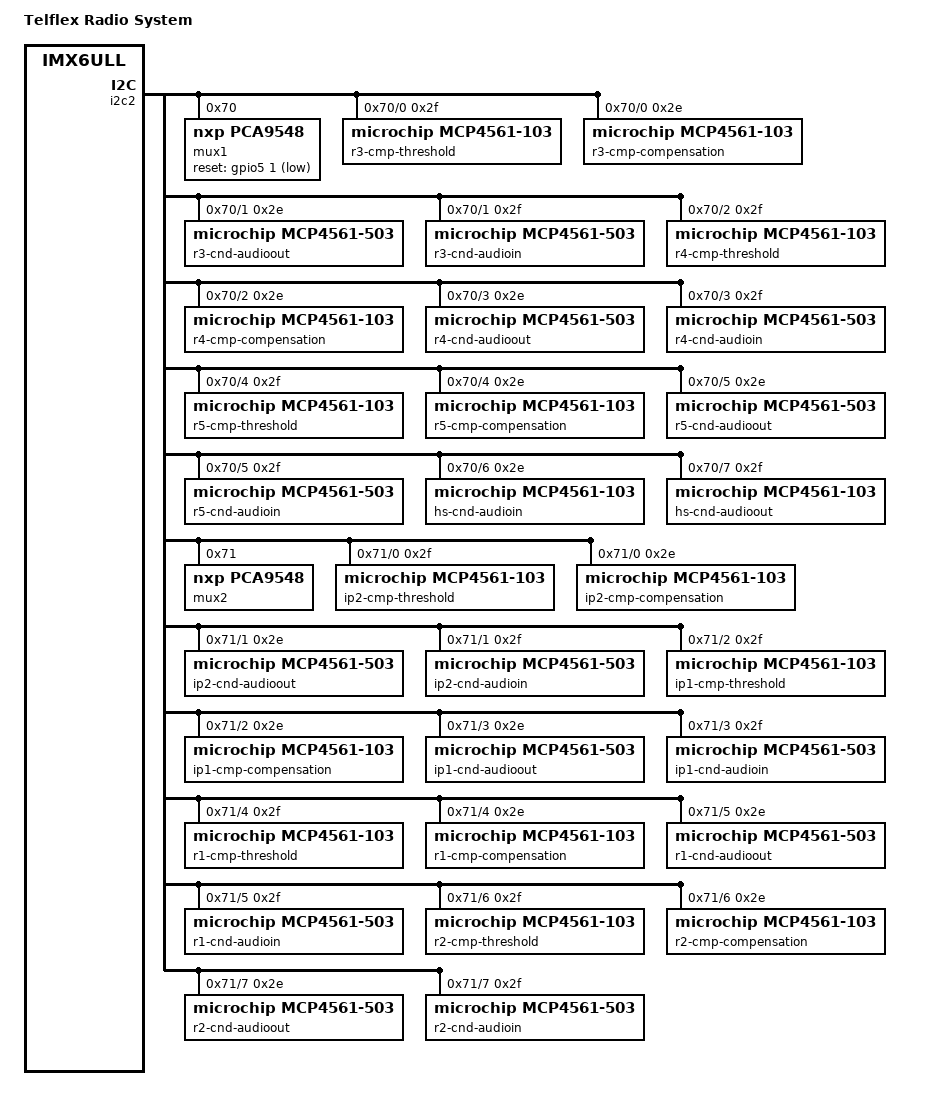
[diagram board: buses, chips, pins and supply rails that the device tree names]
/*
 * Copyright (C) 2019 Amotus Solutions, Inc.
 */

/dts-v1/;

#include "imx6ull-dart6ul-telflex-radio.dtsi"

/ {
	model = "Telflex Radio System";
};

&i2c2 {
	mux1: i2c-mux-0@70 {
		compatible = "nxp,pca9548";
		#address-cells = <1>;
		#size-cells = <0>;
		reg = <0x70>;
		i2c-mux-idle-disconnect = <1>;
		reset-gpios = <&gpio5 1 GPIO_ACTIVE_LOW>;

		i2c@0 {
			#address-cells = <1>;
			#size-cells = <0>;
			reg = <0>;

			// threshold 10kOhm
			r3-cmp-threshold@2f {
				compatible = "microchip,mcp4561-103";
				reg = <0x2f>;
			};
			// compensation 10kOhm
			r3-cmp-compensation@2e {
				compatible = "microchip,mcp4561-103";
				reg = <0x2e>;
			};
		};

		i2c@1 {
			#address-cells = <1>;
			#size-cells = <0>;
			reg = <1>;

			// audioout 50kOhm
			r3-cnd-audioout@2e {
				compatible = "microchip,mcp4561-503";
				reg = <0x2e>;
			};

			// audioin 50kOhm
			r3-cnd-audioin@2f {
				compatible = "microchip,mcp4561-503";
				reg = <0x2f>;
			};
		};

		i2c@2 {
			#address-cells = <1>;
			#size-cells = <0>;
			reg = <2>;

			// threshold 10kOhm
			r4-cmp-threshold@2f {
				compatible = "microchip,mcp4561-103";
				reg = <0x2f>;
			};

			// compensation 10kOhm
			r4-cmp-compensation@2e {
				compatible = "microchip,mcp4561-103";
				reg = <0x2e>;
			};
		};

		i2c@3 {
			#address-cells = <1>;
			#size-cells = <0>;
			reg = <3>;

			// audioout 50kOhm
			r4-cnd-audioout@2e {
				compatible = "microchip,mcp4561-503";
				reg = <0x2e>;
			};

			// audioin 50kOhm
			r4-cnd-audioin@2f {
				compatible = "microchip,mcp4561-503";
				reg = <0x2f>;
			};
		};

		i2c@4 {
			#address-cells = <1>;
			#size-cells = <0>;
			reg = <4>;

			// threshold 10kOhm
			r5-cmp-threshold@2f {
				compatible = "microchip,mcp4561-103";
				reg = <0x2f>;
			};

			// compensation 10kOhm
			r5-cmp-compensation@2e {
				compatible = "microchip,mcp4561-103";
				reg = <0x2e>;
			};
		};

		i2c@5 {
			#address-cells = <1>;
			#size-cells = <0>;
			reg = <5>;

			// audioout 50kOhm
			r5-cnd-audioout@2e {
				compatible = "microchip,mcp4561-503";
				reg = <0x2e>;
			};

			// audioin 50kOhm
			r5-cnd-audioin@2f {
				compatible = "microchip,mcp4561-503";
				reg = <0x2f>;
			};
		};

		i2c@6 {
			#address-cells = <1>;
			#size-cells = <0>;
			reg = <6>;

			hs-cnd-audioin@2e {
				compatible = "microchip,mcp4561-103";
				reg = <0x2e>;
			};
		};

		i2c@7 {
			#address-cells = <1>;
			#size-cells = <0>;
			reg = <7>;

			hs-cnd-audioout@2f {
				compatible = "microchip,mcp4561-103";
				reg = <0x2f>;
			};
		};
	};

	mux2: i2c-mux-1@71 {
		compatible = "nxp,pca9548";
		#address-cells = <1>;
		#size-cells = <0>;
		reg = <0x71>;
		i2c-mux-idle-disconnect = <1>;

		i2c@0 {
			#address-cells = <1>;
			#size-cells = <0>;
			reg = <0>;

			// threshold 10kOhm
			ip2-cmp-threshold@2f {
				compatible = "microchip,mcp4561-103";
				reg = <0x2f>;
			};
			// compensation 10kOhm
			ip2-cmp-compensation@2e {
				compatible = "microchip,mcp4561-103";
				reg = <0x2e>;
			};
		};

		i2c@1 {
			#address-cells = <1>;
			#size-cells = <0>;
			reg = <1>;

			// audioout 50kOhm
			ip2-cnd-audioout@2e {
				compatible = "microchip,mcp4561-503";
				reg = <0x2e>;
			};

			// audioin 50kOhm
			ip2-cnd-audioin@2f {
				compatible = "microchip,mcp4561-503";
				reg = <0x2f>;
			};
		};


		i2c@2 {
			#address-cells = <1>;
			#size-cells = <0>;
			reg = <2>;

			// threshold 10kOhm
			ip1-cmp-threshold@2f {
				compatible = "microchip,mcp4561-103";
				reg = <0x2f>;
			};
			// compensation 10kOhm
			ip1-cmp-compensation@2e {
				compatible = "microchip,mcp4561-103";
				reg = <0x2e>;
			};
		};

		i2c@3 {
			#address-cells = <1>;
			#size-cells = <0>;
			reg = <3>;

			// audioout 50kOhm
			ip1-cnd-audioout@2e {
				compatible = "microchip,mcp4561-503";
				reg = <0x2e>;
			};

			// audioin 50kOhm
			ip1-cnd-audioin@2f {
				compatible = "microchip,mcp4561-503";
				reg = <0x2f>;
			};
		};

		i2c@4 {
			#address-cells = <1>;
			#size-cells = <0>;
			reg = <4>;

			// threshold 10kOhm
			r1-cmp-threshold@2f {
				compatible = "microchip,mcp4561-103";
				reg = <0x2f>;
			};
			// compensation 10kOhm
			r1-cmp-compensation@2e {
				compatible = "microchip,mcp4561-103";
				reg = <0x2e>;
			};
		};

		i2c@5 {
			#address-cells = <1>;
			#size-cells = <0>;
			reg = <5>;

			// audioout 50kOhm
			r1-cnd-audioout@2e {
				compatible = "microchip,mcp4561-503";
				reg = <0x2e>;
			};

			// audioin 50kOhm
			r1-cnd-audioin@2f {
				compatible = "microchip,mcp4561-503";
				reg = <0x2f>;
			};
		};


		i2c@6 {
			#address-cells = <1>;
			#size-cells = <0>;
			reg = <6>;

			// threshold 10kOhm
			r2-cmp-threshold@2f {
				compatible = "microchip,mcp4561-103";
				reg = <0x2f>;
			};
			// compensation 10kOhm
			r2-cmp-compensation@2e {
				compatible = "microchip,mcp4561-103";
				reg = <0x2e>;
			};
		};

		i2c@7 {
			#address-cells = <1>;
			#size-cells = <0>;
			reg = <7>;

			// audioout 50kOhm
			r2-cnd-audioout@2e {
				compatible = "microchip,mcp4561-503";
				reg = <0x2e>;
			};

			// audioin 50kOhm
			r2-cnd-audioin@2f {
				compatible = "microchip,mcp4561-503";
				reg = <0x2f>;
			};
		};
	};
};
